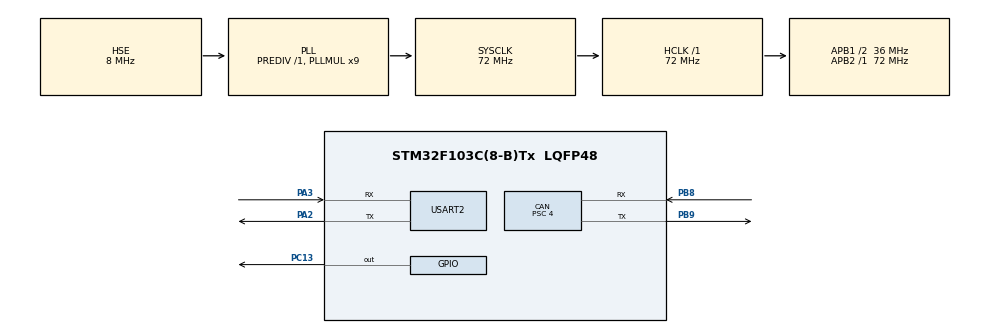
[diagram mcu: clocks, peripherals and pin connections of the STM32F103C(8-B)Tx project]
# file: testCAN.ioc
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CAN.BS1=CAN_BS1_15TQ
CAN.BS2=CAN_BS2_2TQ
CAN.CalculateBaudRate=500000
CAN.CalculateTimeBit=2000
CAN.CalculateTimeQuantum=111.11111111111111
CAN.Mode=CAN_MODE_NORMAL
CAN.Prescaler=4
Mcu.Family=STM32F1
Mcu.Name=STM32F103C(8-B)Tx
Mcu.Package=LQFP48
NVIC.CAN1_RX1_IRQn=true\:0\:0\:false\:false\:true\:true\:true\:true
NVIC.CAN1_SCE_IRQn=true\:0\:0\:false\:false\:true\:true\:true\:true
NVIC.PriorityGroup=NVIC_PRIORITYGROUP_4
NVIC.USB_HP_CAN1_TX_IRQn=true\:0\:0\:false\:false\:true\:true\:true\:true
NVIC.USB_LP_CAN1_RX0_IRQn=true\:0\:0\:false\:false\:true\:true\:true\:true
PA13.Mode=Serial_Wire
PA13.Signal=SYS_JTMS-SWDIO
PA14.Mode=Serial_Wire
PA14.Signal=SYS_JTCK-SWCLK
PA2.Mode=Asynchronous
PA2.Signal=USART2_TX
PA3.Mode=Asynchronous
PA3.Signal=USART2_RX
PB8.Mode=CAN_Activate
PB8.Signal=CAN_RX
PB9.Mode=CAN_Activate
PB9.Signal=CAN_TX
PC13-TAMPER-RTC.Signal=GPIO_Output
PD0-OSC_IN.Mode=HSE-External-Oscillator
PD0-OSC_IN.Signal=RCC_OSC_IN
PD1-OSC_OUT.Mode=HSE-External-Oscillator
PD1-OSC_OUT.Signal=RCC_OSC_OUT
ProjectManager.HeapSize=0x200
ProjectManager.StackSize=0x400
ProjectManager.TargetToolchain=STM32CubeIDE
RCC.AHBFreq_Value=72000000
RCC.APB1CLKDivider=RCC_HCLK_DIV2
RCC.APB1Freq_Value=36000000
RCC.APB1TimFreq_Value=72000000
RCC.APB2Freq_Value=72000000
RCC.APB2TimFreq_Value=72000000
RCC.HCLKFreq_Value=72000000
RCC.PLLMUL=RCC_PLL_MUL9
RCC.PLLSourceVirtual=RCC_PLLSOURCE_HSE
RCC.SYSCLKFreq_VALUE=72000000
RCC.SYSCLKSource=RCC_SYSCLKSOURCE_PLLCLK
RCC.USBFreq_Value=72000000
USART2.VirtualMode=VM_ASYNC
board=custom

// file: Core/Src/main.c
/* USER CODE BEGIN Header */
/**
  ******************************************************************************
  * @file           : main.c
  * @brief          : Main program body
  ******************************************************************************
  * @attention
  *
  * Copyright (c) 2023 STMicroelectronics.
  * All rights reserved.
  *
  * This software is licensed under terms that can be found in the LICENSE file
  * in the root directory of this software component.
  * If no LICENSE file comes with this software, it is provided AS-IS.
  *
  ******************************************************************************
  */
/* USER CODE END Header */
#include "main.h"

/* USER CODE BEGIN Includes */
#include <string.h>
#include <stdint.h>
#include <stdio.h>
/* USER CODE END Includes */

CAN_HandleTypeDef hcan;

UART_HandleTypeDef huart2;

void SystemClock_Config(void);
static void MX_GPIO_Init(void);
static void MX_CAN_Init(void);
static void MX_USART2_UART_Init(void);

/* USER CODE BEGIN 0 */
void isotp_user_send_can(const uint32_t arbitration_id,
                           const uint8_t* data, const uint8_t size);
void CAN_RecData(void);
uint32_t CAN_Config_filtering(void);
/* USER CODE END 0 */

int main(void)
{

  /* MCU Configuration--------------------------------------------------------*/

  /* Reset of all peripherals, Initializes the Flash interface and the Systick. */
  HAL_Init();

  /* Configure the system clock */
  SystemClock_Config();

  /* Initialize all configured peripherals */
  MX_GPIO_Init();
  MX_CAN_Init();
  MX_USART2_UART_Init();
  /* USER CODE BEGIN 2 */
  CAN_Config_filtering();
  HAL_CAN_Start(&hcan);
  /* USER CODE END 2 */

  /* Infinite loop */
  /* USER CODE BEGIN WHILE */
  uint8_t Data[5]={'H','E','L','L','O'};
  //isotp_user_send_can(0x65, Data, 8);
  //CAN_RecData();
  while (1)
  {
    /* USER CODE END WHILE */

    /* USER CODE BEGIN 3 */
	 // isotp_user_send_can(0x65,Data, 5);
	 // HAL_GPIO_TogglePin(GPIOC, GPIO_PIN_13);
	 // HAL_Delay(100);
	  CAN_RecData();
  }
  /* USER CODE END 3 */
}

void SystemClock_Config(void)
{
  RCC_OscInitTypeDef RCC_OscInitStruct = {0};
  RCC_ClkInitTypeDef RCC_ClkInitStruct = {0};

  /** Initializes the RCC Oscillators according to the specified parameters
  * in the RCC_OscInitTypeDef structure.
  */
  RCC_OscInitStruct.OscillatorType = RCC_OSCILLATORTYPE_HSE;
  RCC_OscInitStruct.HSEState = RCC_HSE_ON;
  RCC_OscInitStruct.HSEPredivValue = RCC_HSE_PREDIV_DIV1;
  RCC_OscInitStruct.HSIState = RCC_HSI_ON;
  RCC_OscInitStruct.PLL.PLLState = RCC_PLL_ON;
  RCC_OscInitStruct.PLL.PLLSource = RCC_PLLSOURCE_HSE;
  RCC_OscInitStruct.PLL.PLLMUL = RCC_PLL_MUL9;
  if (HAL_RCC_OscConfig(&RCC_OscInitStruct) != HAL_OK)
  {
    Error_Handler();
  }

  /** Initializes the CPU, AHB and APB buses clocks
  */
  RCC_ClkInitStruct.ClockType = RCC_CLOCKTYPE_HCLK|RCC_CLOCKTYPE_SYSCLK
                              |RCC_CLOCKTYPE_PCLK1|RCC_CLOCKTYPE_PCLK2;
  RCC_ClkInitStruct.SYSCLKSource = RCC_SYSCLKSOURCE_PLLCLK;
  RCC_ClkInitStruct.AHBCLKDivider = RCC_SYSCLK_DIV1;
  RCC_ClkInitStruct.APB1CLKDivider = RCC_HCLK_DIV2;
  RCC_ClkInitStruct.APB2CLKDivider = RCC_HCLK_DIV1;

  if (HAL_RCC_ClockConfig(&RCC_ClkInitStruct, FLASH_LATENCY_2) != HAL_OK)
  {
    Error_Handler();
  }
}

static void MX_CAN_Init(void)
{

  hcan.Instance = CAN1;
  hcan.Init.Prescaler = 4;
  hcan.Init.Mode = CAN_MODE_NORMAL;
  hcan.Init.SyncJumpWidth = CAN_SJW_1TQ;
  hcan.Init.TimeSeg1 = CAN_BS1_15TQ;
  hcan.Init.TimeSeg2 = CAN_BS2_2TQ;
  hcan.Init.TimeTriggeredMode = DISABLE;
  hcan.Init.AutoBusOff = DISABLE;
  hcan.Init.AutoWakeUp = DISABLE;
  hcan.Init.AutoRetransmission = DISABLE;
  hcan.Init.ReceiveFifoLocked = DISABLE;
  hcan.Init.TransmitFifoPriority = DISABLE;
  if (HAL_CAN_Init(&hcan) != HAL_OK)
  {
    Error_Handler();
  }

}

static void MX_USART2_UART_Init(void)
{

  huart2.Instance = USART2;
  huart2.Init.BaudRate = 115200;
  huart2.Init.WordLength = UART_WORDLENGTH_8B;
  huart2.Init.StopBits = UART_STOPBITS_1;
  huart2.Init.Parity = UART_PARITY_NONE;
  huart2.Init.Mode = UART_MODE_TX_RX;
  huart2.Init.HwFlowCtl = UART_HWCONTROL_NONE;
  huart2.Init.OverSampling = UART_OVERSAMPLING_16;
  if (HAL_UART_Init(&huart2) != HAL_OK)
  {
    Error_Handler();
  }

}

static void MX_GPIO_Init(void)
{
  GPIO_InitTypeDef GPIO_InitStruct = {0};

  /* GPIO Ports Clock Enable */
  __HAL_RCC_GPIOC_CLK_ENABLE();
  __HAL_RCC_GPIOD_CLK_ENABLE();
  __HAL_RCC_GPIOA_CLK_ENABLE();
  __HAL_RCC_GPIOB_CLK_ENABLE();

  /*Configure GPIO pin Output Level */
  HAL_GPIO_WritePin(GPIOC, GPIO_PIN_13, GPIO_PIN_RESET);

  /*Configure GPIO pin : PC13 */
  GPIO_InitStruct.Pin = GPIO_PIN_13;
  GPIO_InitStruct.Mode = GPIO_MODE_OUTPUT_PP;
  GPIO_InitStruct.Pull = GPIO_NOPULL;
  GPIO_InitStruct.Speed = GPIO_SPEED_FREQ_LOW;
  HAL_GPIO_Init(GPIOC, &GPIO_InitStruct);

}

/* USER CODE BEGIN 4 */
void isotp_user_send_can(const uint32_t arbitration_id,
                           const uint8_t* data, const uint8_t size) {
	CAN_TxHeaderTypeDef Txheader;
	uint32_t TxMailbox;
	Txheader.DLC=size;
	Txheader.IDE= CAN_ID_STD;
	Txheader.RTR= CAN_RTR_DATA;
	Txheader.StdId= arbitration_id;
	if(HAL_CAN_AddTxMessage(&hcan, &Txheader, data, &TxMailbox)!=HAL_OK){
	}
	while(HAL_CAN_IsTxMessagePending(&hcan, TxMailbox));
  }

void CAN_RecData(void)
{
	char msg[50];
	CAN_RxHeaderTypeDef Rx_Header;
	uint8_t rcData[5];
	while(!HAL_CAN_GetRxFifoFillLevel(&hcan, CAN_RX_FIFO0));
	if(HAL_CAN_GetRxMessage(&hcan, CAN_RX_FIFO0, &Rx_Header, rcData)!=HAL_OK){
		Error_Handler();
	}
	sprintf(msg," Mess : %s\r\n",rcData);
	HAL_UART_Transmit(&huart2, (uint8_t*)msg, strlen(msg), HAL_MAX_DELAY);
}
uint32_t CAN_Config_filtering(void)
{
	CAN_FilterTypeDef Can_filter_init;
	Can_filter_init.FilterActivation=ENABLE;
	Can_filter_init.FilterBank=0;
	Can_filter_init.FilterFIFOAssignment=CAN_RX_FIFO0;
	Can_filter_init.FilterIdHigh=0x0000;
	Can_filter_init.FilterIdLow= 0x0000;
	Can_filter_init.FilterMaskIdHigh= 0x0000;
	Can_filter_init.FilterMaskIdLow= 0x0000;
	Can_filter_init.FilterMode=CAN_FILTERMODE_IDMASK;
	Can_filter_init.FilterScale=CAN_FILTERSCALE_32BIT;
	if(HAL_CAN_ConfigFilter(&hcan,&Can_filter_init)!=HAL_OK)
	{
		Error_Handler();
	}
	return HAL_OK;
}
/* USER CODE END 4 */

void Error_Handler(void)
{
  __disable_irq();
  while (1)
  {
  }
}
